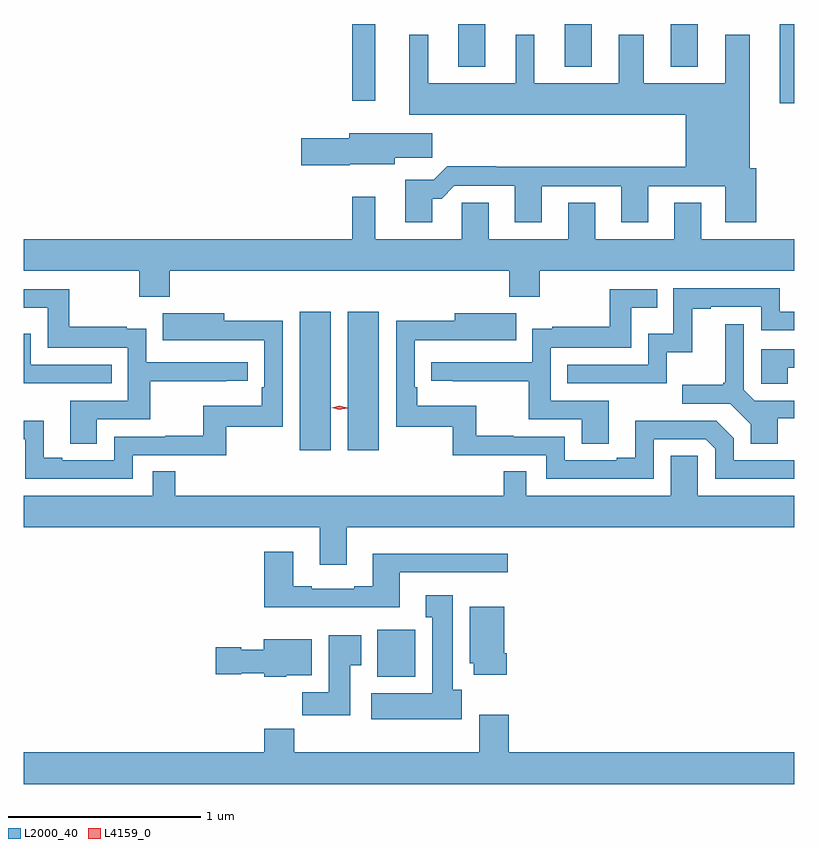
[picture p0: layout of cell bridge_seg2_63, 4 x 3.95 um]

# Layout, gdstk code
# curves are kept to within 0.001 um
import gdstk
lib = gdstk.Library(unit=1e-6, precision=1e-09)
def R(c, l, rs):  # rectangles x0, y0, x1, y1
    for r in rs: c.add(gdstk.rectangle(r[:2], r[2:], *l))
def A(c, l, x, y, w, h, nx, ny, dx, dy):  # array of equal rectangles
    R(c, l, [(x+i*dx, y+j*dy, x+i*dx+w, y+j*dy+h) for i in range(nx) for j in range(ny)])
def P(c, l, *ps):  # polygons
    for p in ps: c.add(gdstk.Polygon(p, *l))
L2000_40 = (2000, 40)
L4159_0 = (4159, 0)

bridge_seg2_63 = lib.new_cell('bridge_seg2_63')
A(bridge_seg2_63, L2000_40, 941.375, 610.067, 0.14, 0.223, 3, 1, 0.552, 0)
R(bridge_seg2_63, L2000_40, [(940.955,606.902,941.152,607.144), (940.553,608.076,940.714,608.797), (940.802,608.076,940.963,608.797), (943.043,609.879,943.119,610.29), (940.824,609.891,940.945,610.29)])
P(bridge_seg2_63, L2000_40, [(941.239,609.383),(941.288,609.383),(941.355,609.45),(941.669,609.45),(941.669,609.261),(941.809,609.261),(941.809,609.447),(942.221,609.447),(942.221,609.261),(942.361,609.261),(942.361,609.447),(942.761,609.447),(942.761,609.261),(942.921,609.261),(942.921,609.54),(942.889,609.54),(942.889,610.234),(942.761,610.234),(942.761,609.982),(942.337,609.982),(942.337,610.234),(942.209,610.234),(942.209,609.982),(941.77,609.982),(941.77,610.234),(941.672,610.234),(941.672,609.982),(941.218,609.982),(941.218,610.234),(941.12,610.234),(941.12,609.818),(942.557,609.818),(942.557,609.548),(941.573,609.548),(941.573,609.551),(941.318,609.551),(941.248,609.481),(941.099,609.481),(941.099,609.261),(941.239,609.261)],
  [(940.812,609.563),(941.044,609.563),(941.044,609.595),(941.239,609.595),(941.239,609.724),(940.808,609.724),(940.808,609.698),(940.56,609.698),(940.56,609.556),(940.812,609.556)],
  [(939.878,609.008),(941.639,609.008),(941.639,608.873),(941.799,608.873),(941.799,609.008),(943.119,609.008),(943.119,609.172),(942.637,609.172),(942.637,609.362),(942.497,609.362),(942.497,609.172),(942.085,609.172),(942.085,609.362),(941.945,609.362),(941.945,609.172),(941.533,609.172),(941.533,609.362),(941.394,609.362),(941.394,609.172),(940.945,609.172),(940.945,609.394),(940.824,609.394),(940.824,609.172),(939.119,609.172),(939.119,609.008),(939.718,609.008),(939.718,608.873),(939.878,608.873)],
  [(942.456,608.585),(942.589,608.585),(942.589,608.811),(942.685,608.811),(942.685,608.823),(942.948,608.823),(942.948,608.7),(943.119,608.7),(943.119,608.796),(943.044,608.796),(943.044,608.919),(942.492,608.919),(942.492,608.683),(942.36,608.683),(942.36,608.52),(941.941,608.52),(941.941,608.424),(942.456,608.424)],
  [(939.499,608.238),(939.776,608.238),(939.776,608.434),(940.169,608.434),(940.169,608.439),(940.282,608.439),(940.282,608.535),(939.756,608.535),(939.756,608.707),(939.653,608.707),(939.653,608.719),(939.355,608.719),(939.355,608.913),(939.119,608.913),(939.119,608.816),(939.244,608.816),(939.244,608.61),(939.66,608.61),(939.66,608.334),(939.359,608.334),(939.359,608.11),(939.499,608.11)],
  [(942.157,608.334),(941.856,608.334),(941.856,608.61),(942.273,608.61),(942.273,608.816),(942.407,608.816),(942.407,608.913),(942.162,608.913),(942.162,608.719),(941.863,608.719),(941.863,608.707),(941.76,608.707),(941.76,608.535),(941.235,608.535),(941.235,608.439),(941.347,608.439),(941.347,608.434),(941.74,608.434),(941.74,608.238),(942.017,608.238),(942.017,608.11),(942.157,608.11)],
  [(939.684,608.052),(940.171,608.052),(940.171,608.199),(940.464,608.199),(940.464,608.75),(940.159,608.75),(940.159,608.788),(939.841,608.788),(939.841,608.648),(940.055,608.648),(940.055,608.649),(940.368,608.649),(940.368,608.404),(940.355,608.404),(940.355,608.308),(940.05,608.308),(940.05,608.153),(939.853,608.153),(939.853,608.148),(939.588,608.148),(939.588,608.025),(939.319,608.025),(939.319,608.038),(939.223,608.038),(939.223,608.231),(939.119,608.231),(939.119,608.133),(939.126,608.133),(939.126,607.929),(939.684,607.929)],
  [(942.39,608.133),(942.66,608.133),(942.708,608.085),(942.708,607.929),(943.119,607.929),(943.119,608.025),(942.804,608.025),(942.804,608.139),(942.714,608.229),(942.498,608.229),(942.498,608.231),(942.293,608.231),(942.293,608.038),(942.197,608.038),(942.197,608.025),(941.928,608.025),(941.928,608.148),(941.663,608.148),(941.663,608.153),(941.467,608.153),(941.467,608.308),(941.162,608.308),(941.162,608.404),(941.148,608.404),(941.148,608.649),(941.675,608.648),(941.675,608.788),(941.357,608.788),(941.357,608.75),(941.052,608.75),(941.052,608.199),(941.346,608.199),(941.346,608.052),(941.832,608.052),(941.832,607.929),(942.39,607.929)],
  [(943.033,608.242),(943.119,608.242),(943.119,608.334),(942.915,608.334),(942.858,608.391),(942.858,608.731),(942.761,608.731),(942.761,608.428),(942.75,608.428),(942.75,608.416),(942.537,608.416),(942.537,608.319),(942.786,608.319),(942.893,608.212),(942.893,608.11),(943.033,608.11)],
  [(939.575,608.52),(939.156,608.52),(939.156,608.683),(939.119,608.683),(939.119,608.424),(939.575,608.424)],
  [(943.085,608.505),(943.119,608.505),(943.119,608.601),(942.948,608.601),(942.948,608.421),(943.085,608.421)],
  [(940.795,607.676),(943.119,607.676),(943.119,607.84),(942.618,607.84),(942.618,608.048),(942.479,608.048),(942.479,607.84),(941.727,607.84),(941.727,607.967),(941.611,607.967),(941.611,607.84),(939.905,607.84),(939.905,607.967),(939.789,607.967),(939.789,607.84),(939.119,607.84),(939.119,607.676),(940.655,607.676),(940.655,607.482),(940.795,607.482)],
  [(941.071,607.443),(941.632,607.443),(941.632,607.54),(940.931,607.54),(940.931,607.372),(940.835,607.372),(940.835,607.359),(940.615,607.359),(940.615,607.372),(940.519,607.372),(940.519,607.549),(940.367,607.549),(940.367,607.262),(941.071,607.262)],
  [(941.392,606.834),(941.347,606.834),(941.347,607.324),(941.207,607.324),(941.207,607.211),(941.24,607.211),(941.24,606.814),(940.923,606.814),(940.923,606.68),(941.392,606.68)],
  [(941.627,607.024),(941.614,607.024),(941.614,607.264),(941.435,607.264),(941.435,606.972),(941.456,606.972),(941.456,606.912),(941.627,606.912)],
  [(940.813,606.961),(940.87,606.961),(940.87,607.117),(940.703,607.117),(940.703,606.82),(940.564,606.82),(940.564,606.702),(940.813,606.702)],
  [(940.482,606.908),(940.615,606.908),(940.615,607.096),(940.364,607.096),(940.364,607.042),(940.248,607.042),(940.248,607.055),(940.116,607.055),(940.116,606.913),(940.248,606.913),(940.248,606.92),(940.368,606.92),(940.368,606.902),(940.482,606.902)],
  [(943.119,606.508),(941.636,606.508),(941.636,606.703),(941.483,606.703),(941.483,606.508),(940.523,606.508),(940.523,606.632),(940.367,606.632),(940.367,606.508),(939.119,606.508),(939.119,606.344),(943.119,606.344)])
P(bridge_seg2_63, L4159_0, [(940.758,608.287),(940.718,608.297),(940.718,608.297),(940.718,608.297),(940.758,608.307),(940.798,608.297),(940.798,608.296),(940.798,608.296)])

lib.write_gds('bridge_seg2_63.gds')
